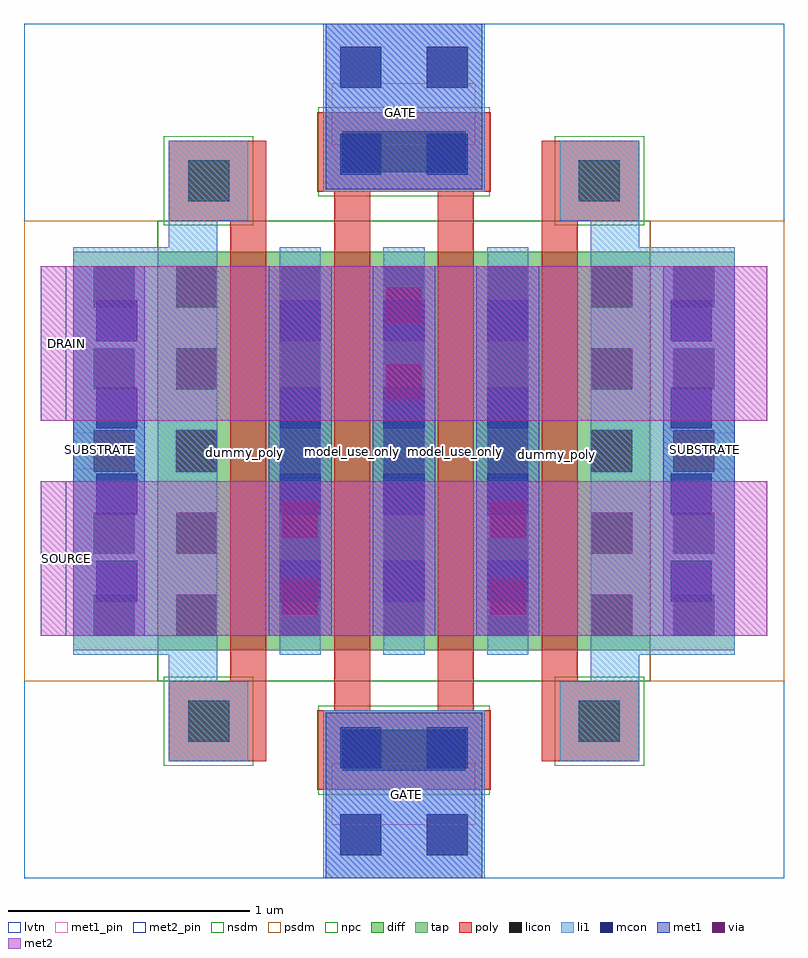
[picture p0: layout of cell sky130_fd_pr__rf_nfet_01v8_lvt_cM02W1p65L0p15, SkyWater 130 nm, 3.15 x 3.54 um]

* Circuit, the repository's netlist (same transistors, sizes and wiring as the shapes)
* Copyright 2020 The SkyWater PDK Authors
*
* Licensed under the Apache License, Version 2.0 (the "License");
* you may not use this file except in compliance with the License.
* You may obtain a copy of the License at
*
*     https://www.apache.org/licenses/LICENSE-2.0
*
* Unless required by applicable law or agreed to in writing, software
* distributed under the License is distributed on an "AS IS" BASIS,
* WITHOUT WARRANTIES OR CONDITIONS OF ANY KIND, either express or implied.
* See the License for the specific language governing permissions and
* limitations under the License.
*
* SPDX-License-Identifier: Apache-2.0


.subckt sky130_fd_pr__rf_nfet_01v8_lvt_cM02W1p65L0p15 DRAIN GATE SOURCE SUBSTRATE
X0 SOURCE SUBSTRATE SUBSTRATE SUBSTRATE sky130_fd_pr__nfet_01v8_lvt w=1.65e+06u l=150000u
X1 DRAIN GATE SOURCE SUBSTRATE sky130_fd_pr__nfet_01v8_lvt w=1.65e+06u l=150000u
X2 SUBSTRATE SUBSTRATE SOURCE SUBSTRATE sky130_fd_pr__nfet_01v8_lvt w=1.65e+06u l=150000u
X3 SOURCE GATE DRAIN SUBSTRATE sky130_fd_pr__nfet_01v8_lvt w=1.65e+06u l=150000u
.ends

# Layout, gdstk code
import gdstk
lib = gdstk.Library(unit=1e-6, precision=1e-09)
def R(c, l, rs):  # rectangles x0, y0, x1, y1
    for r in rs: c.add(gdstk.rectangle(r[:2], r[2:], *l))
def A(c, l, x, y, w, h, nx, ny, dx, dy):  # array of equal rectangles
    R(c, l, [(x+i*dx, y+j*dy, x+i*dx+w, y+j*dy+h) for i in range(nx) for j in range(ny)])
def P(c, l, *ps):  # polygons
    for p in ps: c.add(gdstk.Polygon(p, *l))
diff = (65, 20)
tap = (65, 44)
poly = (66, 20)
licon = (66, 44)
li1 = (67, 20)
mcon = (67, 44)
met1_pin = (68, 16)
met1 = (68, 20)
via = (68, 44)
met2_pin = (69, 16)
met2 = (69, 20)
nsdm = (93, 44)
psdm = (94, 20)
npc = (95, 20)
lvtn = (125, 44)

sky130_fd_pr__rf_nfet_01 = lib.new_cell('sky130_fd_pr__rf_nfet_01v8_lvt_cM02W1p65L0p15')
R(sky130_fd_pr__rf_nfet_01, diff, [(0.555,0.945,2.595,2.595)])
R(sky130_fd_pr__rf_nfet_01, tap, [(0.205,0.945,0.555,2.595), (2.595,0.945,2.945,2.595)])
R(sky130_fd_pr__rf_nfet_01, poly, [(0.6,0.485,0.93,0.815), (0.855,0.485,1.005,3.055), (2.145,0.485,2.295,3.055), (2.22,0.485,2.55,0.815), (0.6,2.725,0.93,3.055), (2.22,2.725,2.55,3.055)])
P(sky130_fd_pr__rf_nfet_01, poly, [(1.935,0.695),(1.865,0.695),(1.865,2.845),(1.935,2.845),(1.935,3.175),(1.715,3.175),(1.715,0.695),(1.435,0.695),(1.435,2.845),(1.715,2.845),(1.715,3.175),(1.215,3.175),(1.215,2.845),(1.285,2.845),(1.285,0.695),(1.215,0.695),(1.215,0.365),(1.935,0.365)])
A(sky130_fd_pr__rf_nfet_01, licon, 0.29, 1.005, 0.17, 0.17, 1, 5, 0, 0.34)
A(sky130_fd_pr__rf_nfet_01, licon, 0.63, 1.005, 0.17, 0.17, 1, 5, 0, 0.34)
A(sky130_fd_pr__rf_nfet_01, licon, 1.06, 1.005, 0.17, 1.53, 3, 1, 0.43, 0)
A(sky130_fd_pr__rf_nfet_01, licon, 2.35, 1.005, 0.17, 0.17, 1, 5, 0, 0.34)
A(sky130_fd_pr__rf_nfet_01, licon, 2.69, 1.005, 0.17, 0.17, 1, 5, 0, 0.34)
R(sky130_fd_pr__rf_nfet_01, licon, [(1.32,0.445,1.83,0.615), (0.68,0.565,0.85,0.735), (2.3,0.565,2.47,0.735), (0.68,2.805,0.85,2.975), (2.3,2.805,2.47,2.975), (1.32,2.925,1.83,3.095)])
A(sky130_fd_pr__rf_nfet_01, li1, 1.06, 0.925, 0.17, 1.69, 3, 1, 0.43, 0)
R(sky130_fd_pr__rf_nfet_01, li1, [(1.24,0,1.91,0.695), (0.6,0.485,0.93,0.815), (2.22,0.485,2.55,0.815), (0.6,0.815,0.8,0.925), (2.35,0.815,2.55,0.925), (0.205,0.925,0.8,2.615), (2.35,0.925,2.945,2.615), (0.6,2.615,0.8,2.725), (2.35,2.615,2.55,2.725), (0.6,2.725,0.93,3.055), (2.22,2.725,2.55,3.055), (1.24,2.845,1.91,3.54)])
A(sky130_fd_pr__rf_nfet_01, mcon, 0.3, 1.145, 0.17, 0.17, 1, 4, 0, 0.36)
A(sky130_fd_pr__rf_nfet_01, mcon, 1.06, 1.145, 0.17, 0.17, 3, 4, 0.43, 0.36)
A(sky130_fd_pr__rf_nfet_01, mcon, 2.68, 1.145, 0.17, 0.17, 1, 4, 0, 0.36)
R(sky130_fd_pr__rf_nfet_01, mcon, [(1.31,0.095,1.48,0.265), (1.67,0.095,1.84,0.265), (1.31,0.455,1.48,0.625), (1.67,0.455,1.84,0.625), (1.31,2.915,1.48,3.085), (1.67,2.915,1.84,3.085), (1.31,3.275,1.48,3.445), (1.67,3.275,1.84,3.445)])
R(sky130_fd_pr__rf_nfet_01, met1_pin, [(1.275,0.22,1.87,0.475), (0.205,1.695,0.435,1.845), (2.715,1.695,2.945,1.845), (1.275,3.04,1.87,3.295)])
A(sky130_fd_pr__rf_nfet_01, met1, 1.015, 1.005, 0.26, 1.53, 3, 1, 0.43, 0)
R(sky130_fd_pr__rf_nfet_01, met1, [(1.25,0,1.9,0.685), (0.205,1.005,0.5,2.535), (2.65,1.005,2.945,2.535), (1.25,2.855,1.9,3.54)])
R(sky130_fd_pr__rf_nfet_01, via, [(1.07,1.09,1.22,1.24), (1.93,1.09,2.08,1.24), (1.07,1.41,1.22,1.56), (1.93,1.41,2.08,1.56), (1.5,1.98,1.65,2.13), (1.5,2.3,1.65,2.45)])
R(sky130_fd_pr__rf_nfet_01, met2_pin, [(0.07,1.005,0.175,1.645), (0.07,1.895,0.175,2.535)])
R(sky130_fd_pr__rf_nfet_01, met2, [(0.07,1.005,3.08,1.645), (0.07,1.895,3.08,2.535)])
R(sky130_fd_pr__rf_nfet_01, nsdm, [(0.555,0.815,2.595,2.725)])
R(sky130_fd_pr__rf_nfet_01, psdm, [(0,0.815,0.555,2.725), (2.595,0.815,3.15,2.725)])
R(sky130_fd_pr__rf_nfet_01, npc, [(1.22,0.345,1.93,0.715), (0.58,0.465,0.95,0.835), (2.2,0.465,2.57,0.835), (0.58,2.705,0.95,3.075), (2.2,2.705,2.57,3.075), (1.22,2.825,1.93,3.195)])
R(sky130_fd_pr__rf_nfet_01, lvtn, [(0,0,3.15,3.54)])
sky130_fd_pr__rf_nfet_01.add(gdstk.Label('dummy_poly', (0.915,1.765), layer=83, texttype=44))
sky130_fd_pr__rf_nfet_01.add(gdstk.Label('dummy_poly', (2.205,1.755), layer=83, texttype=44))
sky130_fd_pr__rf_nfet_01.add(gdstk.Label('GATE', (1.56,3.175), layer=68, texttype=5))
sky130_fd_pr__rf_nfet_01.add(gdstk.Label('GATE', (1.585,0.345), layer=68, texttype=5))
sky130_fd_pr__rf_nfet_01.add(gdstk.Label('SUBSTRATE', (2.825,1.775), layer=68, texttype=16))
sky130_fd_pr__rf_nfet_01.add(gdstk.Label('SUBSTRATE', (0.315,1.775), layer=68, texttype=16))
sky130_fd_pr__rf_nfet_01.add(gdstk.Label('model_use_only', (1.79,1.77), layer=66, texttype=83))
sky130_fd_pr__rf_nfet_01.add(gdstk.Label('model_use_only', (1.36,1.77), layer=66, texttype=83))
sky130_fd_pr__rf_nfet_01.add(gdstk.Label('model_use_only', (0.905,1.77), layer=66, texttype=83))
sky130_fd_pr__rf_nfet_01.add(gdstk.Label('model_use_only', (2.205,1.77), layer=66, texttype=83))
sky130_fd_pr__rf_nfet_01.add(gdstk.Label('SOURCE', (0.175,1.325), layer=69, texttype=5))
sky130_fd_pr__rf_nfet_01.add(gdstk.Label('DRAIN', (0.175,2.215), layer=69, texttype=5))

lib.write_gds('sky130_fd_pr__rf_nfet_01v8_lvt_cM02W1p65L0p15.gds')
